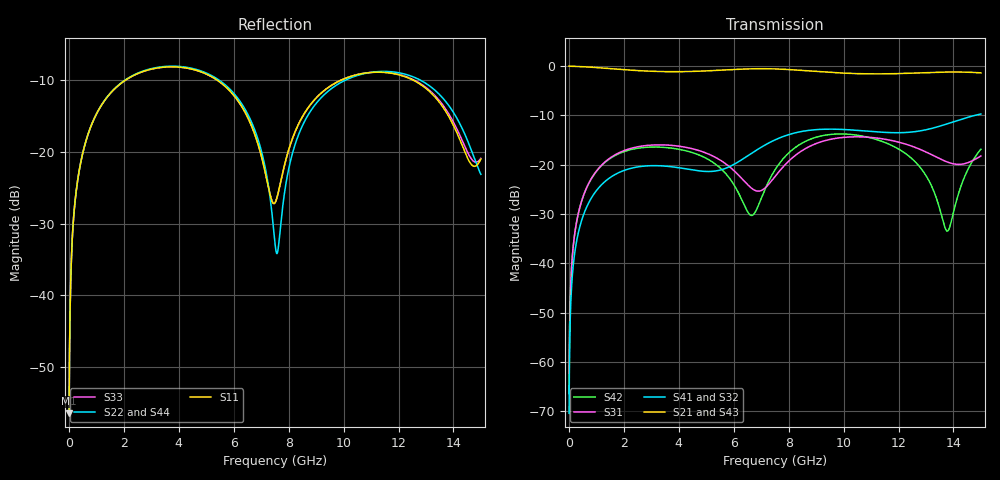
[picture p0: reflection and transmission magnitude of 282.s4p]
! Created with skrf 1.8.0 (http://scikit-rf.org).
# GHz S RI R 50.0
!freq ReS11 ImS11 ReS12 ImS12 ReS13 ImS13
! ReS14 ImS14
! ReS21 ImS21 ReS22 ImS22 ReS23 ImS23
! ReS24 ImS24
! ReS31 ImS31 ReS32 ImS32 ReS33 ImS33
! ReS34 ImS34
! ReS41 ImS41 ReS42 ImS42 ReS43 ImS43
! ReS44 ImS44
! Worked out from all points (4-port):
!   2499 points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, 5 MHz to 15 GHz, reference 50 ohm
!   strongest paths, dB at 5 MHz, 3.476 GHz, 7.19 GHz, 11.1 GHz, 15 GHz:
!     S21: 0.0, -1.1, -0.5, -1.6, -1.4
!     S43: 0.0, -1.1, -0.5, -1.6, -1.4
!     S41: -70.4, -20.3, -15.8, -13.3, -9.7
!     S32: -70.4, -20.2, -15.8, -13.2, -9.7
!     S31: -66.4, -16.0, -24.4, -14.5, -18.2
!     S42: -66.4, -16.5, -24.3, -14.7, -16.8
!   lowest |S11| = -56.4 dB at 5 MHz (marker M1), VSWR 1.00, Z = 50.1 + j0.0914 ohm
!   |S11| at or under -10 dB: start of sweep to 2.045 GHz; 5.408 GHz to 9.89 GHz (4.481 GHz wide, 58.6 % of centre); 12.55 GHz to end of sweep
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0.005  0.0012 0.000912  0.9988 -0.00234  5.9e-05 0.000474  -5.73e-05 -0.000296
       0.9988 -0.00234  0.0012 0.000912  -5.73e-05 -0.000296  5.89e-05 0.000474
       5.9e-05 0.000474  -5.73e-05 -0.000296  0.0012 0.000912  0.9988 -0.00234
       -5.73e-05 -0.000296  5.89e-05 0.000474  0.9988 -0.00234  0.0012 0.000912
0.4126719  0.0215 0.0789  0.9702 -0.1914  0.0105 0.0371  -0.00838 -0.0231
           0.9702 -0.1914  0.0216 0.0789  -0.0084 -0.0231  0.00968 0.0373
           0.0105 0.0371  -0.0084 -0.0231  0.0215 0.0789  0.9702 -0.1914
           -0.00838 -0.0231  0.00968 0.0373  0.9702 -0.1914  0.0216 0.0789
2.125886  0.2679 0.1815  0.55 -0.7315  0.1328 0.053  -0.0896 -0.00636
          0.55 -0.7315  0.2716 0.1791  -0.0898 -0.00612  0.1211 0.0689
          0.1328 0.053  -0.0898 -0.00612  0.2678 0.1816  0.5499 -0.7316
          -0.0896 -0.00636  0.1211 0.0689  0.5499 -0.7316  0.2717 0.179
7.484368  0.0439 0.00136  -0.9349 -0.0649  -0.0387 0.064  -0.0107 0.1773
          -0.9349 -0.0649  0.0189 -0.0163  -0.00654 0.1776  0.0422 0.0762
          -0.0387 0.064  -0.00654 0.1776  0.0439 0.000917  -0.9348 -0.0647
          -0.0107 0.1773  0.0422 0.0762  -0.9348 -0.0647  0.0193 -0.0162
10.49812  0.3378 0.0783  -0.3411 0.7669  0.1916 -0.0128  0.2222 0.0208
          -0.3411 0.7669  0.3282 0.0961  0.2254 0.0142  0.1992 -0.00644
          0.1916 -0.0128  0.2254 0.0142  0.3374 0.0807  -0.34 0.7665
          0.2222 0.0208  0.1992 -0.00644  -0.34 0.7665  0.3327 0.0944
13.77449  0.1389 -0.1217  0.669 0.5577  -0.0752 -0.0757  0.1646 -0.2013
          0.669 0.5577  0.1511 -0.1574  0.1543 -0.2101  0.0206 0.00532
          -0.0752 -0.0757  0.1543 -0.2101  0.1465 -0.124  0.6674 0.5573
          0.1646 -0.2013  0.0206 0.00532  0.6674 0.5573  0.1539 -0.1644
15  0.0847 0.0285  0.8447 0.1309  -0.0778 0.095  0.0511 -0.3231
    0.8447 0.1309  0.0624 -0.0315  0.0357 -0.3258  0.0656 0.128
    -0.0778 0.095  0.0357 -0.3258  0.0884 0.0187  0.8443 0.1323
    0.0511 -0.3231  0.0656 0.128  0.8443 0.1323  0.0639 -0.0382
